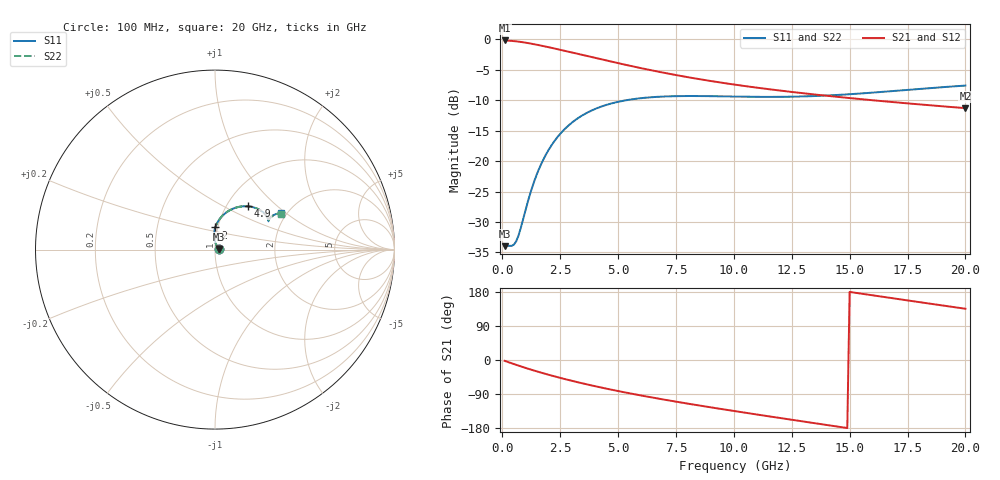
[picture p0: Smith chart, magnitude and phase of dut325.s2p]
! Touchstone file exported from HFSS 2024.1.0
!  File:  C:/UserFiles/LocalFiles/RDL_TSV_Batchsim/temp_RDL_TSV_325_1779630757.aedt
!  Generated:  10:11:17 PM May 24, 2026
!  Design:  RDL_TSV
!  Project:  temp_RDL_TSV_325_1779630757
!  Setup:  Setup1
!  Solution:  Sweep
! Variables:
!  dtsv = 14.35um
!  hbump = 3um
!  htsv = 75.79um
!  ldown = 300.39um
!  lrdl = 538.89um
!  p = 40
!  p1 = 58.94um
!  rhole = 10um
!  subl = 3056.73um
!  t = 450um
!  tdown = 3.16um
!  trdl = 4.51um
!  viad = 10um
!  wdown = 10.66um
!  wrdl = 15.84um
!  xbump = 18um
# GHz S MA R 50.000000
! Terminal data exported
! Port[1] = TM1_1_T1
! Port[2] = TM1_4_T1
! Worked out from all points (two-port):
!   200 points, 100 MHz to 20 GHz, reference 50 ohm
!   highest |S21| = -0.18 dB at 100 MHz (marker M1); lowest = -11.3 dB at 20 GHz (marker M2)
!   |S21| within 3 dB of the highest: start of sweep to 4.164 GHz
!   lowest |S11| = -34.0 dB at 100 MHz (marker M3), VSWR 1.04, Z = 52 + j0.29 ohm
!   |S11| at or under -10 dB: start of sweep to 5.35 GHz
!   |S22| runs from -34.0 to -7.6 dB; largest |S21 - S12| = 3e-14
!   S11 on the Smith chart (normalised r, x): 100 MHz: 1.04, +0.01; 2 GHz: 0.97, +0.24; 4.9 GHz: 1.26, +0.67; 20 GHz: 1.86, +0.91
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0.1  0.02002 8.0  0.9794 -2.2  0.9794 -2.2  0.02002 8.0
! Gamma 0 0 0 0
! Port Impedance 50 0 50 0
0.4  0.02014 33.0  0.9718 -8.6  0.9718 -8.6  0.02013 33.0
0.6  0.02191 55.3  0.9633 -12.8  0.9633 -12.8  0.02191 55.3
0.7  0.02447 66.3  0.9582 -14.8  0.9582 -14.8  0.02447 66.3
1.1  0.04624 90.5  0.9329 -22.8  0.9329 -22.8  0.04626 90.5
1.4  0.07001 93.9  0.9105 -28.4  0.9105 -28.4  0.07004 93.9
1.7  0.09644 92.6  0.8867 -33.8  0.8867 -33.8  0.09648 92.6
2  0.1236 89.2  0.8622 -39.0  0.8622 -39.0  0.1237 89.3
2.3  0.1503 85.1  0.8375 -43.9  0.8375 -43.9  0.1503 85.1
2.7  0.1837 79.3  0.8049 -50.3  0.8049 -50.3  0.1838 79.3
3.5  0.2402 68.2  0.742 -62.1  0.742 -62.1  0.2403 68.2
4.1  0.2726 60.8  0.6979 -70.4  0.6979 -70.4  0.2727 60.8
4.9  0.3038 52.4  0.644 -80.7  0.644 -80.7  0.304 52.4
5.8  0.3257 44.9  0.5906 -91.4  0.5906 -91.4  0.3258 44.9
6.8  0.338 38.5  0.5398 -102.5  0.5398 -102.5  0.3382 38.5
8.3  0.3425 32.1  0.4785 -118.0  0.4785 -118.0  0.3427 32.1
10.1  0.3389 28.5  0.4231 -135.5  0.4231 -135.5  0.3391 28.4
11.7  0.3369 27.9  0.3856 -150.4  0.3856 -150.4  0.3371 27.9
13.4  0.3418 28.8  0.354 -165.9  0.354 -165.9  0.3419 28.7
15  0.3542 29.9  0.3295 179.6  0.3295 179.6  0.3543 29.8
16.7  0.374 30.5  0.3073 164.4  0.3073 164.4  0.3739 30.4
20  0.4172 28.9  0.2723 135.2  0.2723 135.2  0.4168 28.8
